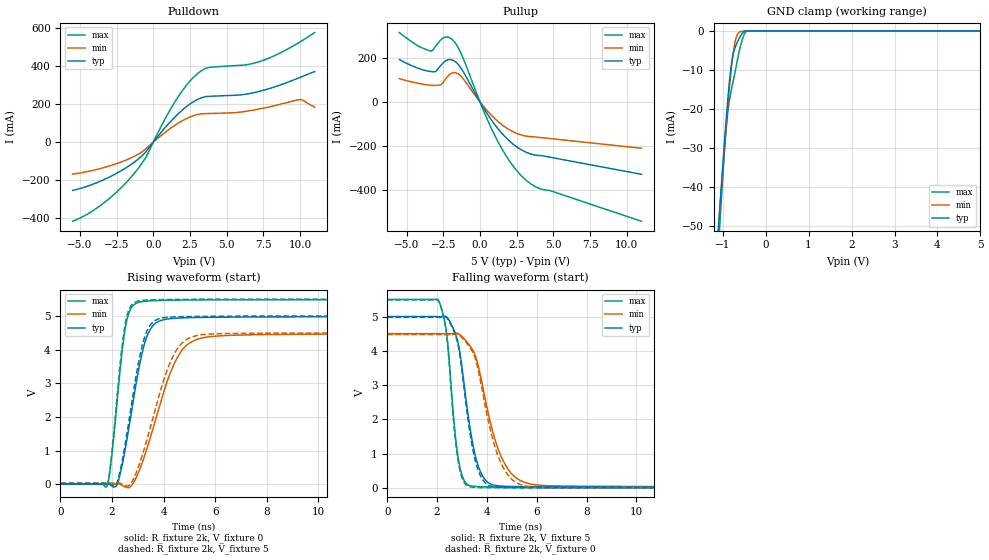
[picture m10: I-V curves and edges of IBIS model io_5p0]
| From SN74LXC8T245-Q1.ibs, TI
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[Model]   io_5p0
Model_type  I/O
Vinl=1.35
Vinh=3.85
Enable   Active-Low
Vref =   0
Rref =   2000
Cref =   15p
Vmeas =   2.5
| variable   typ   min   max
C_comp   5.79pF   4.92pF   7.16pF
| C_pullup   14.63pF   5.87pF   28.02pF
| C_pulldown   8.69pF   6.31pF   14.42pF
| C_tri-state   5.79pF   4.92pF   7.16pF
[Temperature Range]   40   100   -40
| Ambient temperature   25   85   -40
[Voltage range]   5   4.5   5.5
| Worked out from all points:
|   slope of the pulldown table from 0 to 0.75 V, typ, clamps not added: 10.5 ohm
|   slope of the pullup table from 0 to 0.75 V, typ, clamps not added: 9.47 ohm
|   GND clamp passes 1 mA (typ) near -0.56 V on its own axis
|   rising waveform, R_fixture 2k, V_fixture 0: 20-80 % time 693ps typ, 1.13ns min, 437ps max; typ from 0 V to 4.98 V
|   falling waveform, R_fixture 2k, V_fixture 5: 20-80 % time 605ps typ, 928ps min, 399ps max; typ from 5 V to 0.025 V
|   rising waveform, R_fixture 2k, V_fixture 5: 20-80 % time 665ps typ, 1.05ns min, 425ps max; typ from 0.025 V to 5 V
|   falling waveform, R_fixture 2k, V_fixture 0: 20-80 % time 581ps typ, 863ps min, 389ps max; typ from 4.98 V to 0 V
[GND Clamp]
| LXC8T245_IO_50
|   Voltage   I(typ)   I(min)   I(max)
-5.5V     -897.1mA   -831.9mA   -1.015A
-1.115V   -53.49mA   -53.1mA    -58.66mA
-1.08V    -47.7mA    -47.75mA   -52.14mA
-1.05V    -42.82mA   -43.24mA   -46.67mA
-915mV    -22.23mA   -23.93mA   -24.75mA
-870mV    -16.24mA   -18.06mA   -19.86mA
-810mV    -9.725mA   -11mA      -15.84mA
-710mV    -4.241mA   -2.794mA   -10.43mA
-595mV    -1.535mA   -238.1uA   -4.333mA
-495mV    -143.9uA   -74.43uA   -859.9uA
-410mV    -2.841uA   -26.45uA   -7.398uA
5V        42.75pA    201.5nA    680.2pA
[Pulldown]
| LXC8T245_IO_50
|   Voltage   I(typ)   I(min)   I(max)
-5.5V     -253.8mA   -167.8mA   -415.9mA
-3.43V    -199.2mA   -134.9mA   -323mA
-1.42V    -112.1mA   -79.11mA   -175.4mA
-515mV    -51.25mA   -34.88mA   -81.44mA
675mV     64.66mA    43.62mA    103.8mA
1.605V    142.3mA    95.28mA    227.8mA
2.375V    193.6mA    128.1mA    310mA
3.085V    226.9mA    146.6mA    364.6mA
3.83V     241.1mA    150.7mA    393.4mA
7.4V      270.6mA    177.1mA    427.6mA
10.03V    341.2mA    224.3mA    528.3mA
11V       371.1mA    184.2mA    576.2mA
[Pullup]
| LXC8T245_IO_50
|   Voltage   I(typ)   I(min)   I(max)
-5.5V     192.6mA    106.5mA    315.1mA
-3.39V    139mA      76.44mA    232.1mA
-3.02V    139.4mA    75.83mA    254.6mA
-2.445V   182.3mA    95.48mA    292.9mA
-1.78V    187.3mA    133.5mA    275.4mA
-1.265V   150.4mA    114.7mA    215.4mA
270mV     -30.29mA   -22.56mA   -44.29mA
1.205V    -119.5mA   -87.17mA   -177.6mA
2.245V    -190.4mA   -134.4mA   -289.3mA
3.285V    -231.3mA   -155.7mA   -362.5mA
4.095V    -242.4mA   -160.5mA   -392.8mA
11V       -327.5mA   -209.3mA   -540.4mA
[Ramp]
| LXC8T245_IO_50
| variable   typ   min   max
dV/dt_r   3.0/7.18E-10   2.7/7.02E-10   3.3/7.15E-10
dV/dt_f   3.0/4.5E-10   2.7/6.34E-10   3.3/4.41E-10
R_load = 2k
[Rising Waveform]
| LXC8T245_IO_50
R_fixture =   2k
C_fixture =   0
L_fixture =   0
V_fixture =   0
V_fixture_min = 0
V_fixture_max = 0
|   Time   V(typ)   V(min)   V(max)
0s        447.4pV    5.606nV    1.8nV
1.82ns    4.313mV    -101.6uV   -36.37mV
2.185ns   -21.19mV   8.283mV    2.348V
2.52ns    1.074V     -82.14mV   4.664V
2.735ns   2.048V     -55.44mV   5.226V
3.075ns   3.572V     440.1mV    5.412V
3.555ns   4.681V     1.565V     5.452V
4.435ns   4.93V      3.617V     5.47V
5.525ns   4.957V     4.353V     5.477V
29.99ns   4.978V     4.473V     5.483V
[Falling Waveform]
| LXC8T245_IO_50
R_fixture =   2k
C_fixture =   0
L_fixture =   0
V_fixture =   5
V_fixture_min = 4.5
V_fixture_max = 5.5
|   Time   V(typ)   V(min)   V(max)
0s        5V         4.5V       5.5V
2.085ns   4.997V     4.5V       5.43V
2.385ns   4.985V     4.497V     4.498V
2.69ns    4.579V     4.508V     1.836V
2.865ns   4.152V     4.492V     791.6mV
3.35ns    1.619V     4.116V     58.61mV
3.815ns   362.5mV    3.013V     31.48mV
4.56ns    53.14mV    933.4mV    24.28mV
5.735ns   34.84mV    113.1mV    21.05mV
29.99ns   24.92mV    33.45mV    17.03mV
[Rising Waveform]
| LXC8T245_IO_50
R_fixture =   2k
C_fixture =   0
L_fixture =   0
V_fixture =   5
V_fixture_min = 4.5
V_fixture_max = 5.5
|   Time   V(typ)   V(min)   V(max)
0s        24.84mV    32.98mV    17.02mV
1.81ns    28.89mV    32.9mV     -26.1mV
2.175ns   17.26mV    40.3mV     2.42V
2.5ns     1.151V     -37.61mV   4.71V
2.705ns   2.125V     -1.781mV   5.262V
3.025ns   3.609V     520mV      5.443V
3.475ns   4.717V     1.658V     5.477V
4.295ns   4.968V     3.685V     5.489V
5.335ns   4.987V     4.426V     5.495V
29.99ns   5V         4.5V       5.5V
[Falling Waveform]
| LXC8T245_IO_50
R_fixture =   2k
C_fixture =   0
L_fixture =   0
V_fixture =   0
V_fixture_min = 0
V_fixture_max = 0
|   Time   V(typ)   V(min)   V(max)
0s        4.979V     4.474V     5.484V
2.085ns   4.975V     4.475V     5.412V
2.385ns   4.962V     4.471V     4.444V
2.68ns    4.556V     4.481V     1.794V
2.85ns    4.133V     4.47V      755.3mV
3.32ns    1.591V     4.096V     30.82mV
3.765ns   318.2mV    3.021V     7.91mV
4.48ns    14.77mV    869.1mV    3.507mV
5.555ns   3.694mV    51.86mV    1.999mV
29.99ns   75.9uV     271.6uV    10.25uV
